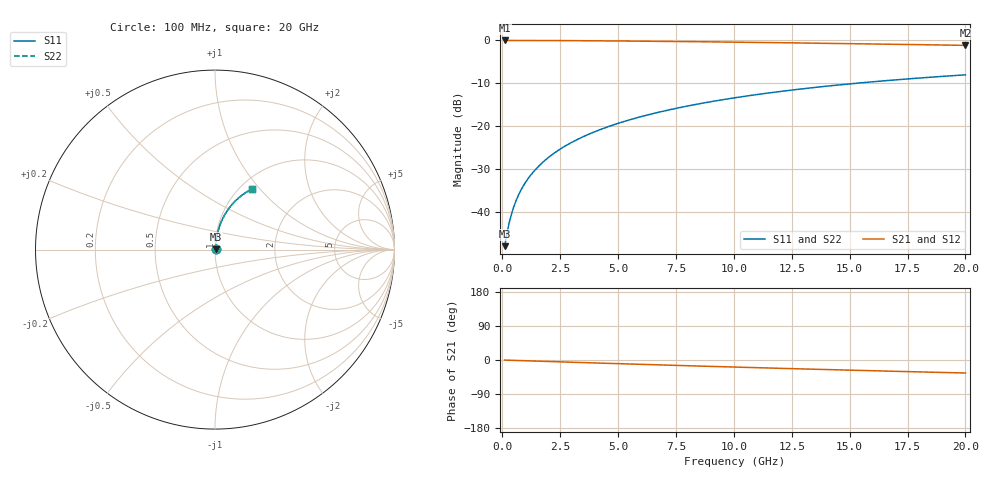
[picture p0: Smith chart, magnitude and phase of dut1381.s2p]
! Touchstone file exported from HFSS 2024.1.0
!  File:  C:/UserFiles/LocalFiles/RDL_TSV_Batchsim/temp_RDL_top_1381_1780367371.aedt
!  Generated:  10:31:57 AM Jun  2, 2026
!  Design:  RDL_top
!  Project:  temp_RDL_top_1381_1780367371
!  Setup:  Setup1
!  Solution:  Sweep
! Variables:
!  dtsv = 10.80580581um
!  hbump = 3um
!  htsv = 94.46um
!  ldown = 100um
!  lrdl = 423.06um
!  p = 40
!  p1 = 49.27um
!  rhole = 1um
!  t = 450um
!  tdown = 3.915915916um
!  trdl = 3.46um
!  wdown = 15.38538539um
!  wrdl = 13.4um
# GHz S MA R 50.000000
! Terminal data exported
! Port[1] = Box2_T1
! Port[2] = Box2_T2
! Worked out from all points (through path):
!   200 points, 100 MHz to 20 GHz, reference 50 ohm
!   highest |S21| = -0.03 dB at 100 MHz (marker M1); lowest = -1.2 dB at 20 GHz (marker M2)
!   group delay of S21, straight-line fit = 4.76 ps
!   lowest |S11| = -47.9 dB at 100 MHz (marker M3), VSWR 1.01, Z = 50.3 + j0.227 ohm
!   |S11| at or under -10 dB: start of sweep to 15.26 GHz
!   |S22| runs from -47.9 to -8.0 dB; largest |S21 - S12| = 2.3e-15
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0.1  0.004039 34.0  0.9967 -0.2  0.9967 -0.2  0.004039 34.0
! Gamma 0 0 0 0
! Port Impedance 50 0 50 0
0.2  0.005649 52.8  0.9966 -0.4  0.9966 -0.4  0.005649 52.8
0.3  0.007577 62.4  0.9965 -0.6  0.9965 -0.6  0.007577 62.4
0.4  0.009611 67.9  0.9964 -0.8  0.9964 -0.8  0.009611 67.9
0.5  0.01168 71.4  0.9963 -1.0  0.9963 -1.0  0.01168 71.4
0.6  0.01378 73.8  0.9961 -1.2  0.9961 -1.2  0.01378 73.8
0.8  0.01799 76.9  0.9959 -1.6  0.9959 -1.6  0.01799 76.9
1.1  0.02435 79.4  0.9955 -2.2  0.9955 -2.2  0.02435 79.4
1.5  0.03288 81.1  0.9949 -3.0  0.9949 -3.0  0.03288 81.1
1.8  0.03931 81.7  0.9943 -3.5  0.9943 -3.5  0.03931 81.7
2.1  0.04576 82.0  0.9937 -4.1  0.9937 -4.1  0.04576 82.0
2.7  0.05868 82.2  0.9921 -5.3  0.9921 -5.3  0.05868 82.2
3.5  0.07593 81.8  0.9896 -6.8  0.9896 -6.8  0.07593 81.8
4.2  0.09103 81.3  0.9869 -8.2  0.9869 -8.2  0.09103 81.3
5  0.1083 80.4  0.9833 -9.7  0.9833 -9.7  0.1083 80.4
5.9  0.1276 79.3  0.9788 -11.3  0.9788 -11.3  0.1276 79.3
6.8  0.1468 78.1  0.9738 -13.0  0.9738 -13.0  0.1468 78.1
8.3  0.1786 76.0  0.9646 -15.7  0.9646 -15.7  0.1786 76.0
10.1  0.216 73.3  0.9524 -18.8  0.9524 -18.8  0.216 73.3
13.4  0.2815 68.3  0.9278 -24.3  0.9278 -24.3  0.2815 68.3
16.7  0.342 63.3  0.9013 -29.5  0.9013 -29.5  0.342 63.3
20  0.3969 58.5  0.8738 -34.3  0.8738 -34.3  0.3969 58.5
